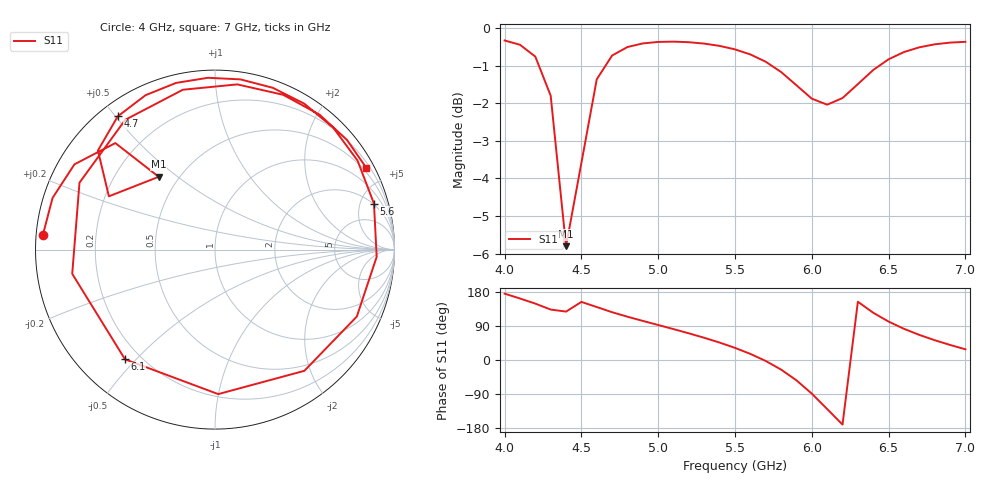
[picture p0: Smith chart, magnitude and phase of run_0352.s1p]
! Touchstone file exported from HFSS 2024.2.0
!  File:  C:/Users/wsak9/Desktop/Sim Fast/Widenad Patch/WP_AI_V1_sweep.aedt
!  Generated:  05:57:38 AM Oct 14, 2026
!  Design:  A1_model
!  Project:  WP_AI_V1_sweep
!  Setup:  Setup1
!  Solution:  Sweep
! Variables:
!  Air_gap = 4.01mm
!  Curve_Amp1 = 2.06
!  Curve_len1 = 1
!  Curve_pos = 12.73mm
!  Extra = 3.88mm
!  H_sub = 0.79mm
!  L_Patch = 21.46mm
!  L_Patch1 = 13mm
!  Sx = 2.74mm
!  Sy = 4.02mm
!  WS = 0.27mm
!  W_Patch = 20.96mm
!  W_Patch1 = 9.12mm
!Data is not renormalized
# GHz S MA
! Terminal data exported
! Port[1] = 1
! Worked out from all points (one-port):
!   31 points, 4 GHz to 7 GHz, reference per port
!   lowest |S11| = -5.8 dB at 4.4 GHz (marker M1), VSWR 3.10
!   |S11| at or under -10 dB: nowhere
!   S11 on the Smith chart (normalised r, x): 4 GHz: 0.02, +0.04; 4.7 GHz: 0.05, +0.51; 5.6 GHz: 1.91, +6.52; 6.1 GHz: 0.14, -0.47; 7 GHz: 0.35, +3.94
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4  0.9624 175.1
4.1  0.9497 162.4
4.2  0.9159 148.8
4.3  0.8127 133.1
4.4  0.5127 127.7
4.5  0.6616 153.3
4.6  0.8546 139.7
4.7  0.919 126.1
4.8  0.9432 114.2
5  0.9581 92.3
5.2  0.9572 70.3
5.3  0.9531 58.6
5.4  0.9464 46.0
5.5  0.9364 32.0
5.6  0.922 16.1
5.7  0.9017 -2.6
5.8  0.8738 -25.3
5.9  0.839 -53.6
6  0.8053 -88.7
6.1  0.7906 -129.4
6.2  0.8068 -170.4
6.3  0.842 153.7
6.4  0.8792 124.7
6.5  0.9085 101.4
6.6  0.9288 82.3
6.7  0.9424 66.2
6.8  0.951 52.3
7  0.9583 28.3
